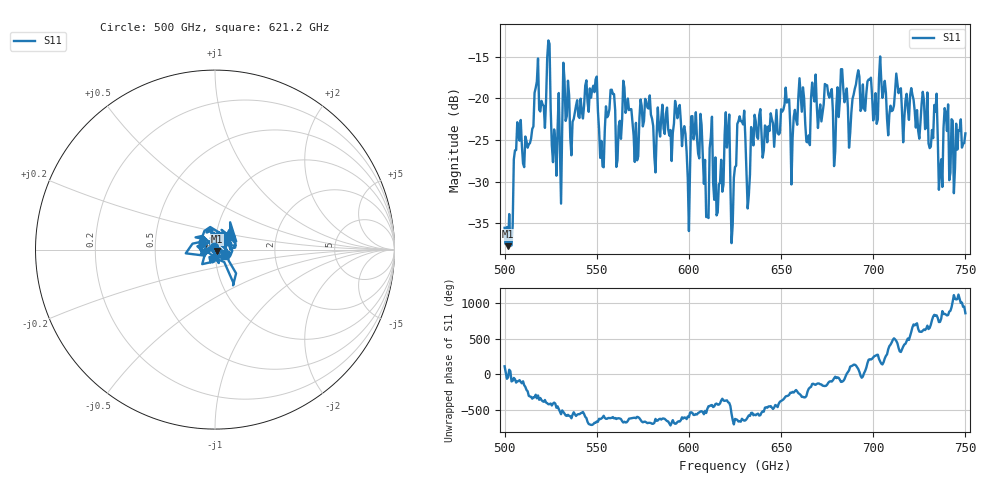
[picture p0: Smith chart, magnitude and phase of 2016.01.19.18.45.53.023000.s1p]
!Created with skrf (http://scikit-rf.org).
# GHz S RI R 50.0
!freq ReS11 ImS11
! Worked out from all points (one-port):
!   401 points, 500 GHz to 750 GHz, reference 50 ohm
!   lowest |S11| = -37.8 dB at 501.9 GHz (marker M1), VSWR 1.03, Z = 50.9 - j0.911 ohm
!   |S11| at or under -10 dB: start of sweep to end of sweep
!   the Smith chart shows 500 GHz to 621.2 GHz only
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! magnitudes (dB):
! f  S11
! 500 GHz  -35.5
! 501.9 GHz  -37.8
! 506.2 GHz  -26.2
! 517.5 GHz  -18.0
! 531.2 GHz  -23.5
! 548.8 GHz  -19.2
! 552.5 GHz  -25.1
! 558.1 GHz  -18.9
! 562.5 GHz  -22.7
! 593.8 GHz  -22.4
! 599.4 GHz  -29.6
! 602.5 GHz  -24.9
! 607.5 GHz  -26.7
! 609.4 GHz  -34.3
! 620.6 GHz  -25.9
! 623.8 GHz  -35.2
! 625 GHz  -28.2
! 628.8 GHz  -22.7
! 631.9 GHz  -33.2
! 637.5 GHz  -24.8
! 656.2 GHz  -24.7
! 667.5 GHz  -19.5
! 687.5 GHz  -24.1
! 718.8 GHz  -21.2
! 733.8 GHz  -21.6
! 736.2 GHz  -28.7
! 739.4 GHz  -21.8
! 750 GHz  -24.2
